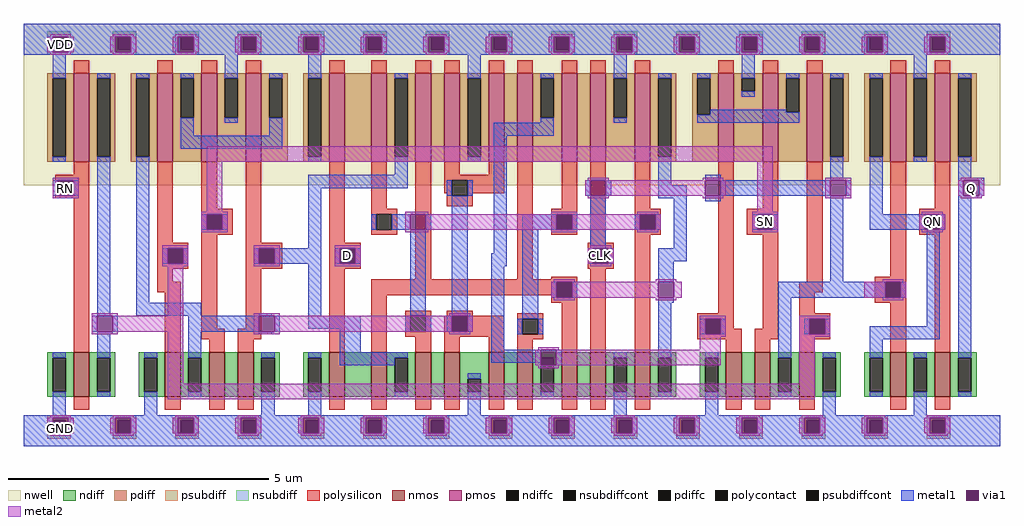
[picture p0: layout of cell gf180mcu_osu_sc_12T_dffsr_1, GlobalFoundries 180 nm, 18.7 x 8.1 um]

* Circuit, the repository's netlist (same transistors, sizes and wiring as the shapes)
.inc "../../char/techfiles/design.hspice"
.lib "../../char/techfiles/sm141064.hspice" typical

.GLOBAL VDD
.GLOBAL GND

.option scale=0.05u

.subckt gf180mcu_osu_sc_12T_dffsr_1 D SN RN Q QN CLK
X0 a_1_11 CLK a_42_106 VDD pmos_3p3 w=34 l=6
X1 a_75_106 a_52_11 a_1_11 VDD pmos_3p3 w=34 l=6
X2 a_n56_16 RN GND GND nmos_3p3 w=17 l=6
X3 a_n56_16 RN VDD VDD pmos_3p3 w=34 l=6
X4 VDD a_114_16 a_175_106 VDD pmos_3p3 w=34 l=6
X5 a_194_16 a_114_16 GND GND nmos_3p3 w=17 l=6
X6 a_n40_106 a_n56_16 GND GND nmos_3p3 w=17 l=6
X7 a_131_16 a_52_11 a_114_16 GND nmos_3p3 w=17 l=6
X8 a_42_106 D VDD VDD pmos_3p3 w=34 l=6
X9 a_75_16 CLK a_1_11 GND nmos_3p3 w=17 l=6
X10 a_135_65 SN a_194_16 GND nmos_3p3 w=17 l=6
X11 a_175_106 SN VDD VDD pmos_3p3 w=34 l=6
X12 a_135_65 a_n56_16 a_175_106 VDD pmos_3p3 w=34 l=6
X13 GND a_135_65 a_131_16 GND nmos_3p3 w=17 l=6
X14 a_1_11 a_52_11 a_42_16 GND nmos_3p3 w=17 l=6
X15 a_52_11 CLK VDD VDD pmos_3p3 w=34 l=6
X16 Q QN GND GND nmos_3p3 w=17 l=6
X17 a_n24_106 a_n56_16 a_n40_106 VDD pmos_3p3 w=34 l=6
X18 VDD SN a_n24_106 VDD pmos_3p3 w=34 l=6
X19 VDD a_135_65 a_131_106 VDD pmos_3p3 w=34 l=6
X20 GND a_135_65 QN GND nmos_3p3 w=17 l=6
X21 a_131_106 CLK a_114_16 VDD pmos_3p3 w=34 l=6
X22 a_n4_16 SN a_n40_106 GND nmos_3p3 w=17 l=6
X23 a_114_16 a_52_11 a_103_106 VDD pmos_3p3 w=34 l=6
X24 GND a_n56_16 a_135_65 GND nmos_3p3 w=17 l=6
X25 a_114_16 CLK a_103_16 GND nmos_3p3 w=17 l=6
X26 a_52_11 CLK GND GND nmos_3p3 w=17 l=6
X27 Q QN VDD VDD pmos_3p3 w=34 l=6
X28 a_42_16 D GND GND nmos_3p3 w=17 l=6
X29 VDD a_n40_106 a_75_106 VDD pmos_3p3 w=34 l=6
X30 a_103_106 a_n40_106 VDD VDD pmos_3p3 w=34 l=6
X31 VDD a_135_65 QN VDD pmos_3p3 w=34 l=6
X32 a_103_16 a_n40_106 GND GND nmos_3p3 w=17 l=6
X33 a_n24_106 a_1_11 VDD VDD pmos_3p3 w=34 l=6
X34 GND a_1_11 a_n4_16 GND nmos_3p3 w=17 l=6
X35 GND a_n40_106 a_75_16 GND nmos_3p3 w=17 l=6
.ends

** hspice subcircuit dictionary

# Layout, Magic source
magic
tech gf180mcuC
<< nwell >>
rect -81 97 293 159
<< nmos >>
rect -62 16 -56 33
rect -27 16 -21 33
rect -10 16 -4 33
rect 1 16 7 33
rect 36 16 42 33
rect 52 16 58 33
rect 69 16 75 33
rect 80 16 86 33
rect 97 16 103 33
rect 108 16 114 33
rect 125 16 131 33
rect 136 16 142 33
rect 153 16 159 33
rect 188 16 194 33
rect 199 16 205 33
rect 216 16 222 33
rect 251 16 257 33
rect 268 16 274 33
<< pmos >>
rect -62 106 -56 140
rect -30 106 -24 140
rect -13 106 -7 140
rect 4 106 10 140
rect 36 106 42 140
rect 52 106 58 140
rect 69 106 75 140
rect 80 106 86 140
rect 97 106 103 140
rect 108 106 114 140
rect 125 106 131 140
rect 136 106 142 140
rect 153 106 159 140
rect 185 106 191 140
rect 202 106 208 140
rect 219 106 225 140
rect 251 106 257 140
rect 268 106 274 140
<< ndiff >>
rect -72 31 -62 33
rect -72 18 -70 31
rect -65 18 -62 31
rect -72 16 -62 18
rect -56 31 -46 33
rect -56 18 -53 31
rect -48 18 -46 31
rect -56 16 -46 18
rect -37 31 -27 33
rect -37 18 -35 31
rect -30 18 -27 31
rect -37 16 -27 18
rect -21 31 -10 33
rect -21 18 -18 31
rect -13 18 -10 31
rect -21 16 -10 18
rect -4 16 1 33
rect 7 31 17 33
rect 7 18 10 31
rect 15 18 17 31
rect 7 16 17 18
rect 26 31 36 33
rect 26 18 28 31
rect 33 18 36 31
rect 26 16 36 18
rect 42 16 52 33
rect 58 31 69 33
rect 58 18 61 31
rect 66 18 69 31
rect 58 16 69 18
rect 75 16 80 33
rect 86 23 97 33
rect 86 18 89 23
rect 94 18 97 23
rect 86 16 97 18
rect 103 16 108 33
rect 114 31 125 33
rect 114 18 117 31
rect 122 18 125 31
rect 114 16 125 18
rect 131 16 136 33
rect 142 31 153 33
rect 142 18 145 31
rect 150 18 153 31
rect 142 16 153 18
rect 159 31 169 33
rect 159 18 162 31
rect 167 18 169 31
rect 159 16 169 18
rect 178 31 188 33
rect 178 18 180 31
rect 185 18 188 31
rect 178 16 188 18
rect 194 16 199 33
rect 205 31 216 33
rect 205 18 208 31
rect 213 18 216 31
rect 205 16 216 18
rect 222 31 232 33
rect 222 18 225 31
rect 230 18 232 31
rect 222 16 232 18
rect 241 31 251 33
rect 241 18 243 31
rect 248 18 251 31
rect 241 16 251 18
rect 257 31 268 33
rect 257 18 260 31
rect 265 18 268 31
rect 257 16 268 18
rect 274 31 284 33
rect 274 18 277 31
rect 282 18 284 31
rect 274 16 284 18
<< pdiff >>
rect -72 138 -62 140
rect -72 108 -70 138
rect -65 108 -62 138
rect -72 106 -62 108
rect -56 138 -46 140
rect -56 108 -53 138
rect -48 108 -46 138
rect -56 106 -46 108
rect -40 138 -30 140
rect -40 108 -38 138
rect -33 108 -30 138
rect -40 106 -30 108
rect -24 138 -13 140
rect -24 123 -21 138
rect -16 123 -13 138
rect -24 106 -13 123
rect -7 138 4 140
rect -7 123 -4 138
rect 1 123 4 138
rect -7 106 4 123
rect 10 138 20 140
rect 10 123 13 138
rect 18 123 20 138
rect 10 106 20 123
rect 26 138 36 140
rect 26 108 28 138
rect 33 108 36 138
rect 26 106 36 108
rect 42 106 52 140
rect 58 138 69 140
rect 58 108 61 138
rect 66 108 69 138
rect 58 106 69 108
rect 75 106 80 140
rect 86 138 97 140
rect 86 108 89 138
rect 94 108 97 138
rect 86 106 97 108
rect 103 106 108 140
rect 114 138 125 140
rect 114 123 117 138
rect 122 123 125 138
rect 114 106 125 123
rect 131 106 136 140
rect 142 138 153 140
rect 142 123 145 138
rect 150 123 153 138
rect 142 106 153 123
rect 159 138 169 140
rect 159 108 162 138
rect 167 108 169 138
rect 159 106 169 108
rect 175 138 185 140
rect 175 124 177 138
rect 182 124 185 138
rect 175 106 185 124
rect 191 138 202 140
rect 191 133 194 138
rect 199 133 202 138
rect 191 106 202 133
rect 208 138 219 140
rect 208 125 211 138
rect 216 125 219 138
rect 208 106 219 125
rect 225 138 235 140
rect 225 108 228 138
rect 233 108 235 138
rect 225 106 235 108
rect 241 138 251 140
rect 241 108 243 138
rect 248 108 251 138
rect 241 106 251 108
rect 257 138 268 140
rect 257 108 260 138
rect 265 108 268 138
rect 257 106 268 108
rect 274 138 284 140
rect 274 108 277 138
rect 282 108 284 138
rect 274 106 284 108
<< ndiffc >>
rect -70 18 -65 31
rect -53 18 -48 31
rect -35 18 -30 31
rect -18 18 -13 31
rect 10 18 15 31
rect 28 18 33 31
rect 61 18 66 31
rect 89 18 94 23
rect 117 18 122 31
rect 145 18 150 31
rect 162 18 167 31
rect 180 18 185 31
rect 208 18 213 31
rect 225 18 230 31
rect 243 18 248 31
rect 260 18 265 31
rect 277 18 282 31
<< pdiffc >>
rect -70 108 -65 138
rect -53 108 -48 138
rect -38 108 -33 138
rect -21 123 -16 138
rect -4 123 1 138
rect 13 123 18 138
rect 28 108 33 138
rect 61 108 66 138
rect 89 108 94 138
rect 117 123 122 138
rect 145 123 150 138
rect 162 108 167 138
rect 177 124 182 138
rect 194 133 199 138
rect 211 125 216 138
rect 228 108 233 138
rect 243 108 248 138
rect 260 108 265 138
rect 277 108 282 138
<< psubdiff >>
rect -72 7 -63 9
rect -72 2 -70 7
rect -65 2 -63 7
rect -72 0 -63 2
rect -47 7 -38 9
rect -47 2 -45 7
rect -40 2 -38 7
rect -47 0 -38 2
rect -23 7 -14 9
rect -23 2 -21 7
rect -16 2 -14 7
rect -23 0 -14 2
rect 1 7 10 9
rect 1 2 3 7
rect 8 2 10 7
rect 1 0 10 2
rect 25 7 34 9
rect 25 2 27 7
rect 32 2 34 7
rect 25 0 34 2
rect 49 7 58 9
rect 49 2 51 7
rect 56 2 58 7
rect 49 0 58 2
rect 73 7 82 9
rect 73 2 75 7
rect 80 2 82 7
rect 73 0 82 2
rect 97 7 106 9
rect 97 2 99 7
rect 104 2 106 7
rect 97 0 106 2
rect 121 7 130 9
rect 121 2 123 7
rect 128 2 130 7
rect 121 0 130 2
rect 145 7 154 9
rect 145 2 147 7
rect 152 2 154 7
rect 145 0 154 2
rect 169 7 178 9
rect 169 2 171 7
rect 176 2 178 7
rect 169 0 178 2
rect 193 7 202 9
rect 193 2 195 7
rect 200 2 202 7
rect 193 0 202 2
rect 217 7 226 9
rect 217 2 219 7
rect 224 2 226 7
rect 217 0 226 2
rect 241 7 250 9
rect 241 2 243 7
rect 248 2 250 7
rect 241 0 250 2
rect 265 7 274 9
rect 265 2 267 7
rect 272 2 274 7
rect 265 0 274 2
<< nsubdiff >>
rect -72 154 -63 156
rect -72 149 -70 154
rect -65 149 -63 154
rect -72 147 -63 149
rect -47 154 -38 156
rect -47 149 -45 154
rect -40 149 -38 154
rect -47 147 -38 149
rect -23 154 -14 156
rect -23 149 -21 154
rect -16 149 -14 154
rect -23 147 -14 149
rect 1 154 10 156
rect 1 149 3 154
rect 8 149 10 154
rect 1 147 10 149
rect 25 154 34 156
rect 25 149 27 154
rect 32 149 34 154
rect 25 147 34 149
rect 49 154 58 156
rect 49 149 51 154
rect 56 149 58 154
rect 49 147 58 149
rect 73 154 82 156
rect 73 149 75 154
rect 80 149 82 154
rect 73 147 82 149
rect 97 154 106 156
rect 97 149 99 154
rect 104 149 106 154
rect 97 147 106 149
rect 121 154 130 156
rect 121 149 123 154
rect 128 149 130 154
rect 121 147 130 149
rect 145 154 154 156
rect 145 149 147 154
rect 152 149 154 154
rect 145 147 154 149
rect 169 154 178 156
rect 169 149 171 154
rect 176 149 178 154
rect 169 147 178 149
rect 193 154 202 156
rect 193 149 195 154
rect 200 149 202 154
rect 193 147 202 149
rect 217 154 226 156
rect 217 149 219 154
rect 224 149 226 154
rect 217 147 226 149
rect 241 154 250 156
rect 241 149 243 154
rect 248 149 250 154
rect 241 147 250 149
rect 265 154 274 156
rect 265 149 267 154
rect 272 149 274 154
rect 265 147 274 149
<< psubdiffcont >>
rect -70 2 -65 7
rect -45 2 -40 7
rect -21 2 -16 7
rect 3 2 8 7
rect 27 2 32 7
rect 51 2 56 7
rect 75 2 80 7
rect 99 2 104 7
rect 123 2 128 7
rect 147 2 152 7
rect 171 2 176 7
rect 195 2 200 7
rect 219 2 224 7
rect 243 2 248 7
rect 267 2 272 7
<< nsubdiffcont >>
rect -70 149 -65 154
rect -45 149 -40 154
rect -21 149 -16 154
rect 3 149 8 154
rect 27 149 32 154
rect 51 149 56 154
rect 75 149 80 154
rect 99 149 104 154
rect 123 149 128 154
rect 147 149 152 154
rect 171 149 176 154
rect 195 149 200 154
rect 219 149 224 154
rect 243 149 248 154
rect 267 149 272 154
<< polysilicon >>
rect -62 140 -56 145
rect -30 140 -24 145
rect -13 140 -7 145
rect 4 140 10 145
rect 36 140 42 145
rect 52 140 58 145
rect 69 140 75 145
rect 80 140 86 145
rect 97 140 103 145
rect 108 140 114 145
rect 125 140 131 145
rect 136 140 142 145
rect 153 140 159 145
rect 185 140 191 145
rect 202 140 208 145
rect 219 140 225 145
rect 251 140 257 145
rect 268 140 274 145
rect -62 101 -56 106
rect -69 99 -56 101
rect -69 94 -67 99
rect -62 94 -56 99
rect -69 92 -56 94
rect -62 33 -56 92
rect -30 75 -24 106
rect -13 88 -7 106
rect -13 86 -1 88
rect -13 80 -11 86
rect -5 80 -1 86
rect -13 78 -1 80
rect -30 73 -18 75
rect -30 67 -26 73
rect -20 67 -18 73
rect -30 65 -18 67
rect -30 60 -24 65
rect -30 56 -21 60
rect -27 33 -21 56
rect -13 42 -7 78
rect 4 75 10 106
rect 36 75 42 106
rect 52 88 58 106
rect 52 86 62 88
rect 52 80 54 86
rect 60 80 62 86
rect 52 78 62 80
rect 4 73 18 75
rect 4 67 9 73
rect 15 67 18 73
rect 4 65 18 67
rect 36 73 48 75
rect 36 67 40 73
rect 46 67 48 73
rect 36 65 48 67
rect 4 42 10 65
rect -13 38 -4 42
rect -10 33 -4 38
rect 1 38 10 42
rect 1 33 7 38
rect 36 33 42 65
rect 69 61 75 106
rect 80 101 86 106
rect 97 101 103 106
rect 80 99 103 101
rect 80 94 83 99
rect 81 93 83 94
rect 89 94 103 99
rect 89 93 91 94
rect 81 89 91 93
rect 108 61 114 106
rect 125 88 131 106
rect 121 86 131 88
rect 121 80 123 86
rect 129 80 131 86
rect 121 78 131 80
rect 136 75 142 106
rect 153 88 159 106
rect 153 86 163 88
rect 153 80 155 86
rect 161 80 163 86
rect 153 78 163 80
rect 135 73 145 75
rect 135 67 137 73
rect 143 67 145 73
rect 135 65 145 67
rect 121 61 131 62
rect 52 60 131 61
rect 52 55 123 60
rect 52 33 58 55
rect 121 54 123 55
rect 129 54 131 60
rect 121 52 131 54
rect 65 47 75 49
rect 81 47 91 49
rect 65 41 67 47
rect 73 41 75 47
rect 65 39 75 41
rect 69 33 75 39
rect 80 41 83 47
rect 89 41 103 47
rect 80 39 103 41
rect 80 33 86 39
rect 97 33 103 39
rect 108 46 118 48
rect 108 40 110 46
rect 116 40 118 46
rect 108 38 118 40
rect 108 33 114 38
rect 125 33 131 52
rect 136 33 142 65
rect 153 33 159 78
rect 185 48 191 106
rect 202 88 208 106
rect 196 86 208 88
rect 196 80 200 86
rect 206 80 208 86
rect 196 78 208 80
rect 177 46 191 48
rect 177 40 180 46
rect 186 42 191 46
rect 202 42 208 78
rect 219 60 225 106
rect 251 62 257 106
rect 268 88 274 106
rect 262 86 274 88
rect 262 80 264 86
rect 270 80 274 86
rect 262 78 274 80
rect 186 40 194 42
rect 177 38 194 40
rect 188 33 194 38
rect 199 38 208 42
rect 216 56 225 60
rect 245 60 257 62
rect 216 48 222 56
rect 245 54 249 60
rect 255 54 257 60
rect 245 52 257 54
rect 216 46 228 48
rect 216 40 220 46
rect 226 40 228 46
rect 216 38 228 40
rect 199 33 205 38
rect 216 33 222 38
rect 251 33 257 52
rect 268 33 274 78
rect -62 11 -56 16
rect -27 11 -21 16
rect -10 11 -4 16
rect 1 11 7 16
rect 36 11 42 16
rect 52 11 58 16
rect 69 11 75 16
rect 80 11 86 16
rect 97 11 103 16
rect 108 11 114 16
rect 125 11 131 16
rect 136 11 142 16
rect 153 11 159 16
rect 188 11 194 16
rect 199 11 205 16
rect 216 11 222 16
rect 251 11 257 16
rect 268 11 274 16
<< polycontact >>
rect -67 94 -62 99
rect -11 80 -5 86
rect -26 67 -20 73
rect 54 80 60 86
rect 9 67 15 73
rect 40 67 46 73
rect 83 93 89 99
rect 123 80 129 86
rect 155 80 161 86
rect 137 67 143 73
rect 123 54 129 60
rect 67 41 73 47
rect 83 41 89 47
rect 110 40 116 46
rect 200 80 206 86
rect 180 40 186 46
rect 264 80 270 86
rect 249 54 255 60
rect 220 40 226 46
<< metal1 >>
rect -81 154 293 159
rect -81 148 -70 154
rect -64 148 -46 154
rect -40 148 -22 154
rect -16 148 2 154
rect 8 148 26 154
rect 32 148 50 154
rect 56 148 74 154
rect 80 148 98 154
rect 104 148 122 154
rect 128 148 146 154
rect 152 148 170 154
rect 176 148 194 154
rect 200 148 218 154
rect 224 148 242 154
rect 248 148 266 154
rect 272 148 293 154
rect -81 147 293 148
rect -70 138 -65 147
rect -70 106 -65 108
rect -53 138 -48 140
rect -70 93 -68 99
rect -62 93 -60 99
rect -53 47 -48 108
rect -38 138 -33 140
rect -21 138 -16 140
rect -21 116 -16 123
rect -4 138 1 147
rect -4 121 1 123
rect 13 138 18 140
rect 13 116 18 123
rect -21 111 18 116
rect 28 138 33 147
rect -38 52 -33 108
rect 28 106 33 108
rect 61 138 66 140
rect 61 101 66 108
rect 89 138 94 147
rect 117 138 122 140
rect 117 121 122 123
rect 145 138 150 147
rect 145 121 150 123
rect 162 138 167 140
rect 89 106 94 108
rect 99 116 122 121
rect 28 96 66 101
rect -13 80 -11 86
rect -5 80 -3 86
rect 28 73 33 96
rect 81 93 83 99
rect 89 93 91 99
rect 52 80 54 86
rect 60 80 67 86
rect 73 80 75 86
rect -28 67 -26 73
rect -20 67 -18 73
rect 7 67 9 73
rect 15 67 33 73
rect 38 67 40 73
rect 46 67 48 73
rect -38 47 -13 52
rect 9 47 14 48
rect 28 47 33 67
rect 67 47 73 80
rect 83 47 89 93
rect 99 71 104 116
rect 177 138 182 140
rect 194 138 199 147
rect 194 131 199 133
rect 211 138 216 140
rect 182 125 211 126
rect 182 124 216 125
rect 177 121 216 124
rect 228 138 233 140
rect 134 93 136 99
rect 142 93 144 99
rect 162 97 167 108
rect 180 99 186 101
rect 228 99 233 108
rect 243 138 248 140
rect 98 66 104 71
rect 110 80 123 86
rect 129 80 131 86
rect -55 41 -53 47
rect -47 41 -45 47
rect -18 41 9 47
rect 15 41 17 47
rect 28 42 48 47
rect -53 40 -47 41
rect -70 31 -65 33
rect -70 9 -65 18
rect -53 31 -48 40
rect -53 16 -48 18
rect -35 31 -30 33
rect -35 9 -30 18
rect -18 31 -13 41
rect 9 40 14 41
rect 40 33 48 42
rect 65 41 67 47
rect 73 41 75 47
rect 81 41 83 47
rect 89 41 91 47
rect 98 34 103 66
rect 110 46 116 80
rect 136 73 142 93
rect 162 92 173 97
rect 153 80 155 86
rect 161 80 163 86
rect 168 73 173 92
rect 186 93 228 99
rect 234 93 236 99
rect 180 91 186 93
rect 198 80 200 86
rect 206 80 208 86
rect 135 67 137 73
rect 143 67 145 73
rect 162 68 173 73
rect 162 60 168 68
rect 228 60 233 93
rect 243 86 248 108
rect 260 138 265 147
rect 260 106 265 108
rect 277 138 282 140
rect 277 100 282 108
rect 277 99 287 100
rect 277 93 279 99
rect 285 93 287 99
rect 277 92 286 93
rect 243 80 264 86
rect 270 80 272 86
rect 121 54 123 60
rect 129 54 131 60
rect 162 52 168 54
rect 208 54 249 60
rect 255 54 257 60
rect 108 40 110 46
rect 116 40 118 46
rect -18 16 -13 18
rect 10 31 15 33
rect 10 9 15 18
rect 28 31 33 33
rect 40 31 66 33
rect 40 28 61 31
rect 28 9 33 18
rect 98 29 117 34
rect 123 28 125 34
rect 145 31 150 33
rect 61 16 66 18
rect 89 23 94 25
rect 89 9 94 18
rect 117 16 122 18
rect 145 9 150 18
rect 162 31 167 52
rect 178 40 180 46
rect 186 40 188 46
rect 162 16 167 18
rect 180 31 185 33
rect 180 9 185 18
rect 208 31 213 54
rect 218 40 220 46
rect 226 40 228 46
rect 265 43 270 80
rect 243 38 270 43
rect 208 16 213 18
rect 225 31 230 33
rect 225 9 230 18
rect 243 31 248 38
rect 243 16 248 18
rect 260 31 265 33
rect 260 9 265 18
rect 277 31 282 92
rect 277 16 282 18
rect -81 8 293 9
rect -81 2 -70 8
rect -64 2 -46 8
rect -40 2 -22 8
rect -16 2 2 8
rect 8 2 26 8
rect 32 2 50 8
rect 56 2 74 8
rect 80 2 98 8
rect 104 2 122 8
rect 128 2 146 8
rect 152 2 170 8
rect 176 2 194 8
rect 200 2 218 8
rect 224 2 242 8
rect 248 2 266 8
rect 272 2 293 8
rect -81 -3 293 2
<< via1 >>
rect -70 149 -65 154
rect -65 149 -64 154
rect -70 148 -64 149
rect -46 149 -45 154
rect -45 149 -40 154
rect -46 148 -40 149
rect -22 149 -21 154
rect -21 149 -16 154
rect -22 148 -16 149
rect 2 149 3 154
rect 3 149 8 154
rect 2 148 8 149
rect 26 149 27 154
rect 27 149 32 154
rect 26 148 32 149
rect 50 149 51 154
rect 51 149 56 154
rect 50 148 56 149
rect 74 149 75 154
rect 75 149 80 154
rect 74 148 80 149
rect 98 149 99 154
rect 99 149 104 154
rect 98 148 104 149
rect 122 149 123 154
rect 123 149 128 154
rect 122 148 128 149
rect 146 149 147 154
rect 147 149 152 154
rect 146 148 152 149
rect 170 149 171 154
rect 171 149 176 154
rect 170 148 176 149
rect 194 149 195 154
rect 195 149 200 154
rect 194 148 200 149
rect 218 149 219 154
rect 219 149 224 154
rect 218 148 224 149
rect 242 149 243 154
rect 243 149 248 154
rect 242 148 248 149
rect 266 149 267 154
rect 267 149 272 154
rect 266 148 272 149
rect -68 94 -67 99
rect -67 94 -62 99
rect -68 93 -62 94
rect -11 80 -5 86
rect 67 80 73 86
rect -26 67 -20 73
rect 9 67 15 73
rect 40 67 46 73
rect 136 93 142 99
rect 123 80 129 86
rect -53 41 -47 47
rect 9 41 15 47
rect 83 41 89 47
rect 155 80 161 86
rect 180 93 186 99
rect 228 93 234 99
rect 200 80 206 86
rect 137 67 143 73
rect 279 93 285 99
rect 264 80 270 86
rect 123 54 129 60
rect 162 54 168 60
rect 249 54 255 60
rect 117 31 123 34
rect 117 28 122 31
rect 122 28 123 31
rect 180 40 186 46
rect 220 40 226 46
rect -70 7 -64 8
rect -70 2 -65 7
rect -65 2 -64 7
rect -46 7 -40 8
rect -46 2 -45 7
rect -45 2 -40 7
rect -22 7 -16 8
rect -22 2 -21 7
rect -21 2 -16 7
rect 2 7 8 8
rect 2 2 3 7
rect 3 2 8 7
rect 26 7 32 8
rect 26 2 27 7
rect 27 2 32 7
rect 50 7 56 8
rect 50 2 51 7
rect 51 2 56 7
rect 74 7 80 8
rect 74 2 75 7
rect 75 2 80 7
rect 98 7 104 8
rect 98 2 99 7
rect 99 2 104 7
rect 122 7 128 8
rect 122 2 123 7
rect 123 2 128 7
rect 146 7 152 8
rect 146 2 147 7
rect 147 2 152 7
rect 170 7 176 8
rect 170 2 171 7
rect 171 2 176 7
rect 194 7 200 8
rect 194 2 195 7
rect 195 2 200 7
rect 218 7 224 8
rect 218 2 219 7
rect 219 2 224 7
rect 242 7 248 8
rect 242 2 243 7
rect 243 2 248 7
rect 266 7 272 8
rect 266 2 267 7
rect 267 2 272 7
<< metal2 >>
rect -71 154 -63 155
rect -47 154 -39 155
rect -23 154 -15 155
rect 1 154 9 155
rect 25 154 33 155
rect 49 154 57 155
rect 73 154 81 155
rect 97 154 105 155
rect 121 154 129 155
rect 145 154 153 155
rect 169 154 177 155
rect 193 154 201 155
rect 217 154 225 155
rect 241 154 249 155
rect 265 154 273 155
rect -72 148 -70 154
rect -64 148 -62 154
rect -48 148 -46 154
rect -40 148 -38 154
rect -24 148 -22 154
rect -16 148 -14 154
rect 0 148 2 154
rect 8 148 10 154
rect 24 148 26 154
rect 32 148 34 154
rect 48 148 50 154
rect 56 148 58 154
rect 72 148 74 154
rect 80 148 82 154
rect 96 148 98 154
rect 104 148 106 154
rect 120 148 122 154
rect 128 148 130 154
rect 144 148 146 154
rect 152 148 154 154
rect 168 148 170 154
rect 176 148 178 154
rect 192 148 194 154
rect 200 148 202 154
rect 216 148 218 154
rect 224 148 226 154
rect 240 148 242 154
rect 248 148 250 154
rect 264 148 266 154
rect 272 148 274 154
rect -71 147 -63 148
rect -47 147 -39 148
rect -23 147 -15 148
rect 1 147 9 148
rect 25 147 33 148
rect 49 147 57 148
rect 73 147 81 148
rect 97 147 105 148
rect 121 147 129 148
rect 145 147 153 148
rect 169 147 177 148
rect 193 147 201 148
rect 217 147 225 148
rect 241 147 249 148
rect 265 147 273 148
rect -11 106 206 112
rect -70 99 -60 100
rect -70 93 -68 99
rect -62 93 -60 99
rect -70 92 -60 93
rect -11 87 -5 106
rect 135 99 143 100
rect 179 99 187 100
rect 134 93 136 99
rect 142 93 180 99
rect 186 93 188 99
rect 135 92 143 93
rect 179 92 187 93
rect 200 87 206 106
rect 226 99 236 100
rect 278 99 286 100
rect 226 93 228 99
rect 234 93 236 99
rect 277 93 279 99
rect 285 93 287 99
rect 226 92 236 93
rect 278 92 286 93
rect -13 86 -3 87
rect -13 80 -11 86
rect -5 80 -3 86
rect -13 79 -3 80
rect 65 86 74 87
rect 121 86 131 87
rect 154 86 162 87
rect 198 86 208 87
rect 263 86 271 87
rect 65 80 67 86
rect 73 80 123 86
rect 129 80 155 86
rect 161 80 163 86
rect 198 80 200 86
rect 206 80 208 86
rect 262 80 264 86
rect 270 80 272 86
rect 65 79 74 80
rect 121 79 131 80
rect 154 79 162 80
rect 198 79 208 80
rect 263 79 271 80
rect -28 73 -18 74
rect -28 67 -26 73
rect -20 67 -18 73
rect -28 66 -18 67
rect 7 73 17 74
rect 7 67 9 73
rect 15 67 17 73
rect 7 66 17 67
rect 38 73 48 74
rect 136 73 144 74
rect 38 67 40 73
rect 46 67 48 73
rect 135 67 137 73
rect 143 67 145 73
rect 38 66 48 67
rect 136 66 144 67
rect -55 47 -45 48
rect -26 47 -20 66
rect 122 60 130 61
rect 161 60 169 61
rect 248 60 256 61
rect 121 54 123 60
rect 129 54 162 60
rect 168 54 171 60
rect 241 54 249 60
rect 255 54 257 60
rect 122 53 130 54
rect 161 53 169 54
rect 248 53 256 54
rect -55 41 -53 47
rect -47 41 -20 47
rect -55 40 -45 41
rect -26 21 -20 41
rect 7 47 17 48
rect 82 47 90 48
rect 7 41 9 47
rect 15 41 83 47
rect 89 41 91 47
rect 178 46 188 47
rect 7 40 17 41
rect 82 40 90 41
rect 178 40 180 46
rect 186 40 188 46
rect 178 39 188 40
rect 216 46 228 47
rect 216 40 220 46
rect 226 40 228 46
rect 216 39 228 40
rect 116 34 124 35
rect 178 34 186 39
rect 115 28 117 34
rect 123 28 186 34
rect 116 27 124 28
rect 216 21 222 39
rect -26 15 222 21
rect -71 8 -63 9
rect -47 8 -39 9
rect -23 8 -15 9
rect 1 8 9 9
rect 25 8 33 9
rect 49 8 57 9
rect 73 8 81 9
rect 97 8 105 9
rect 121 8 129 9
rect 145 8 153 9
rect 169 8 177 9
rect 193 8 201 9
rect 217 8 225 9
rect 241 8 249 9
rect 265 8 273 9
rect -72 2 -70 8
rect -64 2 -62 8
rect -48 2 -46 8
rect -40 2 -38 8
rect -24 2 -22 8
rect -16 2 -14 8
rect 0 2 2 8
rect 8 2 10 8
rect 24 2 26 8
rect 32 2 34 8
rect 48 2 50 8
rect 56 2 58 8
rect 72 2 74 8
rect 80 2 82 8
rect 96 2 98 8
rect 104 2 106 8
rect 120 2 122 8
rect 128 2 130 8
rect 144 2 146 8
rect 152 2 154 8
rect 168 2 170 8
rect 176 2 178 8
rect 192 2 194 8
rect 200 2 202 8
rect 216 2 218 8
rect 224 2 226 8
rect 240 2 242 8
rect 248 2 250 8
rect 264 2 266 8
rect 272 2 274 8
rect -71 1 -63 2
rect -47 1 -39 2
rect -23 1 -15 2
rect 1 1 9 2
rect 25 1 33 2
rect 49 1 57 2
rect 73 1 81 2
rect 97 1 105 2
rect 121 1 129 2
rect 145 1 153 2
rect 169 1 177 2
rect 193 1 201 2
rect 217 1 225 2
rect 241 1 249 2
rect 265 1 273 2
<< labels >>
rlabel metal2 43 70 43 70 1 D
port 1 n
rlabel metal2 282 96 282 96 1 Q
port 5 n
rlabel metal2 -67 151 -67 151 1 VDD
rlabel metal2 -67 4 -67 4 1 GND
rlabel metal2 -65 96 -65 96 1 RN
port 4 n
rlabel metal2 203 83 203 83 1 SN
port 3 n
rlabel metal2 140 70 140 70 1 CLK
port 7 n
rlabel metal2 267 83 267 83 1 QN
port 8 n
<< end >>
